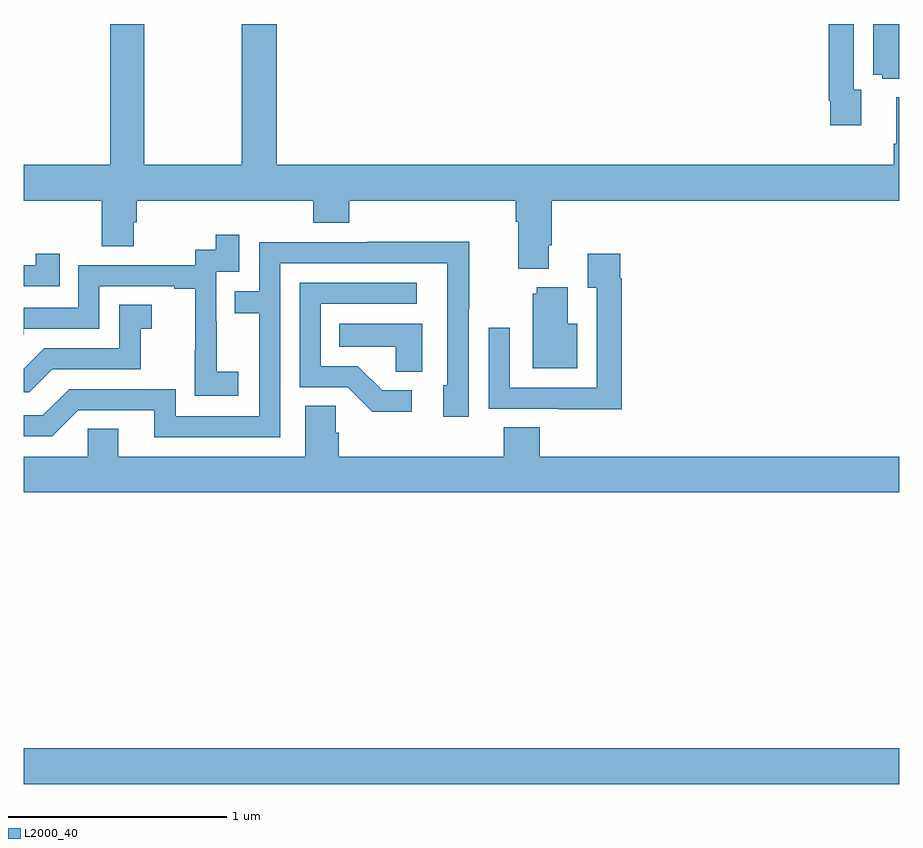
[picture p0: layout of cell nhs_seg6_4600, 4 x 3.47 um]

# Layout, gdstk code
import gdstk
lib = gdstk.Library(unit=1e-6, precision=1e-09)
def R(c, l, rs):  # rectangles x0, y0, x1, y1
    for r in rs: c.add(gdstk.rectangle(r[:2], r[2:], *l))
def P(c, l, *ps):  # polygons
    for p in ps: c.add(gdstk.Polygon(p, *l))
L2000_40 = (2000, 40)

nhs_seg6_4600 = lib.new_cell('nhs_seg6_4600')
R(nhs_seg6_4600, L2000_40, [(383,922.028,387,922.192)])
P(nhs_seg6_4600, L2000_40, [(385.399,924.49),(385.412,924.49),(385.412,924.692),(387,924.692),(387,925.165),(386.987,925.165),(386.987,924.952),(386.975,924.952),(386.975,924.856),(384.155,924.856),(384.155,925.5),(383.995,925.5),(383.995,924.856),(383.55,924.856),(383.55,925.5),(383.395,925.5),(383.395,924.856),(383,924.856),(383,924.692),(383.356,924.692),(383.356,924.484),(383.503,924.484),(383.503,924.594),(383.516,924.594),(383.516,924.692),(384.323,924.692),(384.323,924.593),(384.488,924.593),(384.488,924.692),(385.247,924.692),(385.247,924.596),(385.259,924.596),(385.259,924.383),(385.399,924.383)],
  [(386.827,925.199),(386.793,925.199),(386.793,925.5),(386.677,925.5),(386.677,925.15),(386.685,925.15),(386.685,925.038),(386.827,925.038)],
  [(387,925.5),(386.882,925.5),(386.882,925.268),(386.922,925.268),(386.922,925.25),(387,925.25)],
  [(383.98,923.911),(383.882,923.911),(383.882,924.14),(383.88,924.14),(383.88,924.369),(383.985,924.369),(383.985,924.538),(383.877,924.538),(383.877,924.468),(383.784,924.468),(383.784,924.399),(383.25,924.399),(383.25,924.204),(383,924.204),(383,924.081),(383.001,924.081),(383.001,924.108),(383.346,924.108),(383.346,924.303),(383.687,924.303),(383.687,924.291),(383.783,924.291),(383.783,924.007),(383.782,924.007),(383.782,923.801),(383.98,923.801)],
  [(384.171,924.408),(384.936,924.408),(384.936,923.85),(384.917,923.85),(384.917,923.706),(385.032,923.706),(385.032,924.199),(385.035,924.199),(385.035,924.506),(384.571,924.506),(384.571,924.504),(384.075,924.504),(384.075,924.279),(383.965,924.279),(383.965,924.178),(384.075,924.178),(384.075,923.709),(383.694,923.709),(383.694,923.832),(383.208,923.832),(383.088,923.712),(383,923.712),(383,923.616),(383.13,923.616),(383.25,923.736),(383.597,923.736),(383.597,923.613),(384.171,923.613)],
  [(385.733,924.338),(385.726,924.338),(385.726,924.451),(385.577,924.451),(385.577,924.295),(385.617,924.295),(385.617,923.838),(385.221,923.838),(385.221,924.112),(385.125,924.112),(385.125,923.742),(385.441,923.742),(385.441,923.741),(385.733,923.741)],
  [(383.165,924.451),(383.054,924.451),(383.054,924.399),(383,924.399),(383,924.303),(383.165,924.303)],
  [(384.772,923.826),(384.637,923.826),(384.526,923.937),(384.357,923.937),(384.357,924.222),(384.796,924.222),(384.796,924.318),(384.261,924.318),(384.261,923.841),(384.48,923.841),(384.593,923.729),(384.772,923.729)],
  [(385.528,924.13),(385.486,924.13),(385.486,924.298),(385.343,924.298),(385.343,924.267),(385.325,924.267),(385.325,923.927),(385.528,923.927)],
  [(383.131,923.922),(383.535,923.922),(383.535,924.107),(383.584,924.107),(383.584,924.217),(383.436,924.217),(383.436,924.018),(383.094,924.018),(383,923.924),(383,923.817),(383.026,923.817)],
  [(384.82,924.13),(384.442,924.13),(384.442,924.026),(384.699,924.026),(384.699,923.911),(384.82,923.911)],
  [(387,923.524),(385.358,923.524),(385.358,923.657),(385.193,923.657),(385.193,923.524),(384.44,923.524),(384.44,923.633),(384.426,923.633),(384.426,923.756),(384.287,923.756),(384.287,923.524),(383.431,923.524),(383.431,923.651),(383.292,923.651),(383.292,923.524),(383,923.524),(383,923.36),(387,923.36)])

lib.write_gds('nhs_seg6_4600.gds')
